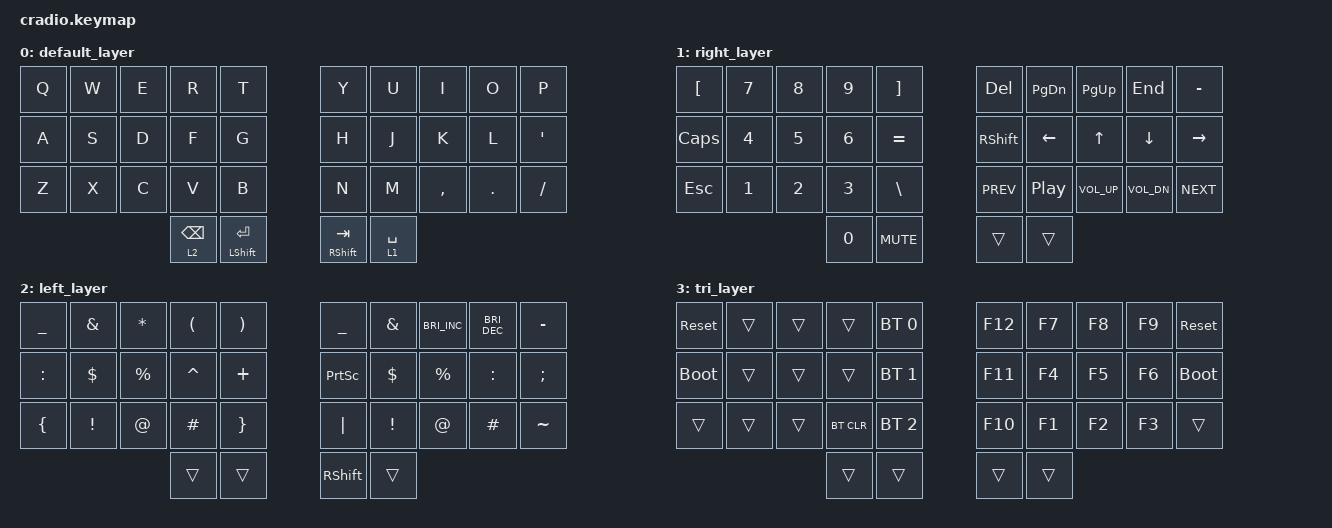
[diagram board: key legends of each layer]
// Copyright (c) 2022 The ZMK Contributors
// SPDX-License-Identifier: MIT

#include <behaviors.dtsi>
#include <dt-bindings/zmk/bt.h>
#include <dt-bindings/zmk/keys.h>

// Home row mods macro

#define HRML(k1,k2,k3,k4) &ht LSHFT k1  &ht LALT k2  &ht LCTRL k3  &ht LGUI k4
#define HRMR(k1,k2,k3,k4) &ht RGUI k1  &ht RCTRL k2  &ht RALT k3  &ht RSHFT k4

/ {
    behaviors {
        ht: hold_tap {
            label = "hold_tap";
            compatible = "zmk,behavior-hold-tap";
            #binding-cells = <2>;
            flavor = "tap-preferred";
            tapping-term-ms = <220>;
            quick-tap-ms = <150>;
            require-prior-idle-ms = <100>;
            bindings = <&kp>, <&kp>;
        };
    };

    conditional_layers {
        compatible = "zmk,conditional-layers";

        tri_layer {
            if-layers = <1 2>;
            then-layer = <3>;
        };
    };

    combos {
        compatible = "zmk,combos";

        combo_lctrl {
            timeout-ms = <40>;
            key-positions = <12 13>;
            bindings = <&kp LEFT_COMMAND>;
        };

        combo_rctrl {
            timeout-ms = <40>;
            key-positions = <16 17>;
            bindings = <&kp LEFT_GUI>;
        };

        combo_lgui {
            timeout-ms = <40>;
            key-positions = <2 3>;
            bindings = <&kp LEFT_CONTROL>;
        };

        combo_rgui {
            timeout-ms = <40>;
            key-positions = <6 7>;
            bindings = <&kp RIGHT_CONTROL>;
        };

        combo_ralt {
            timeout-ms = <40>;
            key-positions = <25 26>;
            bindings = <&kp RALT>;
        };

        combo_lalt {
            timeout-ms = <40>;
            key-positions = <23 24>;
            bindings = <&kp LALT>;
        };
    };

    keymap {
        compatible = "zmk,keymap";

        default_layer {
            bindings = <
&kp Q  &kp W  &kp E  &kp R       &kp T              &kp Y          &kp U        &kp I      &kp O    &kp P
&kp A  &kp S  &kp D  &kp F       &kp G              &kp H          &kp J        &kp K      &kp L    &kp SQT
&kp Z  &kp X  &kp C  &kp V       &kp B              &kp N          &kp M        &kp COMMA  &kp DOT  &kp FSLH
                     &lt 2 BSPC  &mt LSHFT ENTER    &mt RSHFT TAB  &lt 1 SPACE
            >;
        };

        right_layer {
            bindings = <
&kp LBKT  &kp N7  &kp N8  &kp N9  &kp RBKT      &kp DEL     &kp PG_DN       &kp PG_UP     &kp END         &kp MINUS
&kp CAPS  &kp N4  &kp N5  &kp N6  &kp EQUAL     &kp RSHFT   &kp LEFT_ARROW  &kp UP_ARROW  &kp DOWN_ARROW  &kp RIGHT
&kp ESC   &kp N1  &kp N2  &kp N3  &kp BSLH      &kp K_PREV  &kp C_PP        &kp C_VOL_UP  &kp C_VOL_DN    &kp C_NEXT
                          &kp N0  &kp C_MUTE    &trans      &trans
            >;
        };

        left_layer {
            bindings = <
&kp UNDER  &kp AMPS  &kp ASTRK  &kp LPAR   &kp RPAR    &kp UNDER  &kp AMPS  &kp C_BRI_INC  &kp C_BRI_DEC  &kp MINUS
&kp COLON  &kp DLLR  &kp PRCNT  &kp CARET  &kp PLUS    &kp PSCRN  &kp DLLR  &kp PRCNT      &kp COLON      &kp SEMI
&kp LBRC   &kp EXCL  &kp AT     &kp HASH   &kp RBRC    &kp PIPE   &kp EXCL  &kp AT         &kp HASH       &kp TILDE
                                &trans     &trans      &kp RSHFT  &trans
            >;
        };

        tri_layer {
            bindings = <
&sys_reset   &trans  &trans  &trans      &bt BT_SEL 0    &kp F12  &kp F7  &kp F8  &kp F9  &sys_reset
&bootloader  &trans  &trans  &trans      &bt BT_SEL 1    &kp F11  &kp F4  &kp F5  &kp F6  &bootloader
&trans       &trans  &trans  &bt BT_CLR  &bt BT_SEL 2    &kp F10  &kp F1  &kp F2  &kp F3  &trans
                             &trans      &trans          &trans   &trans
            >;
        };
    };
};
